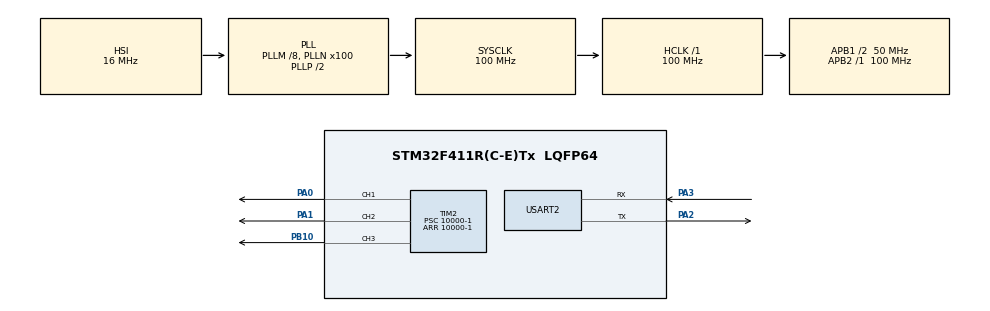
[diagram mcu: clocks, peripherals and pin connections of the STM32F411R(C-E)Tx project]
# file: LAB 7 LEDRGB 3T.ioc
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Mcu.Family=STM32F4
Mcu.Name=STM32F411R(C-E)Tx
Mcu.Package=LQFP64
NVIC.PriorityGroup=NVIC_PRIORITYGROUP_4
NVIC.TIM2_IRQn=true\:0\:0\:false\:false\:true\:true\:true
PA0-WKUP.GPIO_Speed=GPIO_SPEED_FREQ_VERY_HIGH
PA0-WKUP.Signal=S_TIM2_CH1_ETR
PA1.GPIO_Speed=GPIO_SPEED_FREQ_VERY_HIGH
PA1.Signal=S_TIM2_CH2
PA2.Mode=Asynchronous
PA2.Signal=USART2_TX
PA3.Mode=Asynchronous
PA3.Signal=USART2_RX
PB10.GPIO_Speed=GPIO_SPEED_FREQ_VERY_HIGH
PB10.Signal=S_TIM2_CH3
ProjectManager.HeapSize=0x200
ProjectManager.StackSize=0x400
ProjectManager.TargetToolchain=MDK-ARM V5
RCC.48MHZClocksFreq_Value=50000000
RCC.AHBFreq_Value=100000000
RCC.APB1CLKDivider=RCC_HCLK_DIV2
RCC.APB1Freq_Value=50000000
RCC.APB1TimFreq_Value=100000000
RCC.APB2Freq_Value=100000000
RCC.APB2TimFreq_Value=100000000
RCC.CortexFreq_Value=100000000
RCC.HCLKFreq_Value=100000000
RCC.HSE_VALUE=25000000
RCC.HSI_VALUE=16000000
RCC.LSE_VALUE=32768
RCC.PLLM=8
RCC.PLLN=100
RCC.SYSCLKFreq_VALUE=100000000
RCC.SYSCLKSource=RCC_SYSCLKSOURCE_PLLCLK
RCC.VCOOutputFreq_Value=200000000
SH.S_TIM2_CH1_ETR.0=TIM2_CH1,PWM Generation1 CH1
SH.S_TIM2_CH2.0=TIM2_CH2,PWM Generation2 CH2
SH.S_TIM2_CH3.0=TIM2_CH3,PWM Generation3 CH3
TIM2.Channel-PWM\ Generation1\ CH1=TIM_CHANNEL_1
TIM2.Channel-PWM\ Generation2\ CH2=TIM_CHANNEL_2
TIM2.Channel-PWM\ Generation3\ CH3=TIM_CHANNEL_3
TIM2.Period=10000-1
TIM2.Prescaler=10000-1
USART2.VirtualMode=VM_ASYNC
VP_TIM2_VS_ClockSourceINT.Mode=Internal
board=custom

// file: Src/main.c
/* USER CODE BEGIN Header */
/**
  ******************************************************************************
  * @file           : main.c
  * @brief          : Main program body
  ******************************************************************************
  ** This notice applies to any and all portions of this file
  * that are not between comment pairs USER CODE BEGIN and
  * USER CODE END. Other portions of this file, whether
  * inserted by the user or by software development tools
  * are owned by their respective copyright owners.
  *
  * COPYRIGHT(c) 2019 STMicroelectronics
  *
  * Redistribution and use in source and binary forms, with or without modification,
  * are permitted provided that the following conditions are met:
  *   1. Redistributions of source code must retain the above copyright notice,
  *      this list of conditions and the following disclaimer.
  *   2. Redistributions in binary form must reproduce the above copyright notice,
  *      this list of conditions and the following disclaimer in the documentation
  *      and/or other materials provided with the distribution.
  *   3. Neither the name of STMicroelectronics nor the names of its contributors
  *      may be used to endorse or promote products derived from this software
  *      without specific prior written permission.
  *
  * THIS SOFTWARE IS PROVIDED BY THE COPYRIGHT HOLDERS AND CONTRIBUTORS "AS IS"
  * AND ANY EXPRESS OR IMPLIED WARRANTIES, INCLUDING, BUT NOT LIMITED TO, THE
  * IMPLIED WARRANTIES OF MERCHANTABILITY AND FITNESS FOR A PARTICULAR PURPOSE ARE
  * DISCLAIMED. IN NO EVENT SHALL THE COPYRIGHT HOLDER OR CONTRIBUTORS BE LIABLE
  * FOR ANY DIRECT, INDIRECT, INCIDENTAL, SPECIAL, EXEMPLARY, OR CONSEQUENTIAL
  * DAMAGES (INCLUDING, BUT NOT LIMITED TO, PROCUREMENT OF SUBSTITUTE GOODS OR
  * SERVICES; LOSS OF USE, DATA, OR PROFITS; OR BUSINESS INTERRUPTION) HOWEVER
  * CAUSED AND ON ANY THEORY OF LIABILITY, WHETHER IN CONTRACT, STRICT LIABILITY,
  * OR TORT (INCLUDING NEGLIGENCE OR OTHERWISE) ARISING IN ANY WAY OUT OF THE USE
  * OF THIS SOFTWARE, EVEN IF ADVISED OF THE POSSIBILITY OF SUCH DAMAGE.
  *
  ******************************************************************************
  */
/* USER CODE END Header */

#include "main.h"
#include "tim.h"
#include "usart.h"
#include "gpio.h"

/* USER CODE BEGIN Includes */
#include "string.h"
/* USER CODE END Includes */

/* USER CODE BEGIN PV */
extern UART_HandleTypeDef huart2;
extern TIM_HandleTypeDef htim2;
uint8_t pwm;
/* USER CODE END PV */

void SystemClock_Config(void);

int main(void)
{

  /* MCU Configuration--------------------------------------------------------*/

  /* Reset of all peripherals, Initializes the Flash interface and the Systick. */
  HAL_Init();

  /* Configure the system clock */
  SystemClock_Config();

  /* Initialize all configured peripherals */
  MX_GPIO_Init();
  MX_TIM2_Init();
  MX_USART2_UART_Init();
  /* USER CODE BEGIN 2 */
		char button;
		char text[]="click ==>";
		char newline[]="\n\r";
		int level =0;
  /* USER CODE END 2 */

  /* Infinite loop */
  while (1)
  {

    /* USER CODE BEGIN 3 */
		while(__HAL_UART_GET_FLAG(&huart2,UART_FLAG_RXNE)== RESET){}
		HAL_UART_Receive(&huart2, (uint8_t*) &button, 1, 1000);
		HAL_UART_Transmit(&huart2, (uint8_t*) text, strlen(text), 1000);
		HAL_UART_Transmit(&huart2, (uint8_t*) &button, 1, 1000);
		HAL_UART_Transmit(&huart2, (uint8_t*) newline, strlen(newline), 1000);
		if((button =='r'|| button =='R') && level <6){
				htim2.Instance->CCR3 =((10000-1)*0.2)*level;
				HAL_TIM_PWM_Start(&htim2,TIM_CHANNEL_3);
				HAL_Delay(100);
				level ++;
		}else if ((button =='g'|| button =='G') && level <6){
				htim2.Instance->CCR2 =((10000-1)*0.2)*level;
				HAL_TIM_PWM_Start(&htim2,TIM_CHANNEL_2);
				HAL_Delay(100);
				level ++;

		}else if((button =='b'|| button =='B') && level <6){
				htim2.Instance->CCR1 =((10000-1)*0.2)*level;
				HAL_TIM_PWM_Start(&htim2,TIM_CHANNEL_1);
				HAL_Delay(100);
				level ++;
		}if(level >5){
				level = 0;
		}
	}
  /* USER CODE END 3 */
}

void SystemClock_Config(void)
{
  RCC_OscInitTypeDef RCC_OscInitStruct = {0};
  RCC_ClkInitTypeDef RCC_ClkInitStruct = {0};

  /**Configure the main internal regulator output voltage
  */
  __HAL_RCC_PWR_CLK_ENABLE();
  __HAL_PWR_VOLTAGESCALING_CONFIG(PWR_REGULATOR_VOLTAGE_SCALE1);
  /**Initializes the CPU, AHB and APB busses clocks
  */
  RCC_OscInitStruct.OscillatorType = RCC_OSCILLATORTYPE_HSI;
  RCC_OscInitStruct.HSIState = RCC_HSI_ON;
  RCC_OscInitStruct.HSICalibrationValue = RCC_HSICALIBRATION_DEFAULT;
  RCC_OscInitStruct.PLL.PLLState = RCC_PLL_ON;
  RCC_OscInitStruct.PLL.PLLSource = RCC_PLLSOURCE_HSI;
  RCC_OscInitStruct.PLL.PLLM = 8;
  RCC_OscInitStruct.PLL.PLLN = 100;
  RCC_OscInitStruct.PLL.PLLP = RCC_PLLP_DIV2;
  RCC_OscInitStruct.PLL.PLLQ = 4;
  if (HAL_RCC_OscConfig(&RCC_OscInitStruct) != HAL_OK)
  {
    Error_Handler();
  }
  /**Initializes the CPU, AHB and APB busses clocks
  */
  RCC_ClkInitStruct.ClockType = RCC_CLOCKTYPE_HCLK|RCC_CLOCKTYPE_SYSCLK
                              |RCC_CLOCKTYPE_PCLK1|RCC_CLOCKTYPE_PCLK2;
  RCC_ClkInitStruct.SYSCLKSource = RCC_SYSCLKSOURCE_PLLCLK;
  RCC_ClkInitStruct.AHBCLKDivider = RCC_SYSCLK_DIV1;
  RCC_ClkInitStruct.APB1CLKDivider = RCC_HCLK_DIV2;
  RCC_ClkInitStruct.APB2CLKDivider = RCC_HCLK_DIV1;

  if (HAL_RCC_ClockConfig(&RCC_ClkInitStruct, FLASH_LATENCY_3) != HAL_OK)
  {
    Error_Handler();
  }
}

void Error_Handler(void)
{
}

/************************ (C) COPYRIGHT STMicroelectronics *****END OF FILE****/
